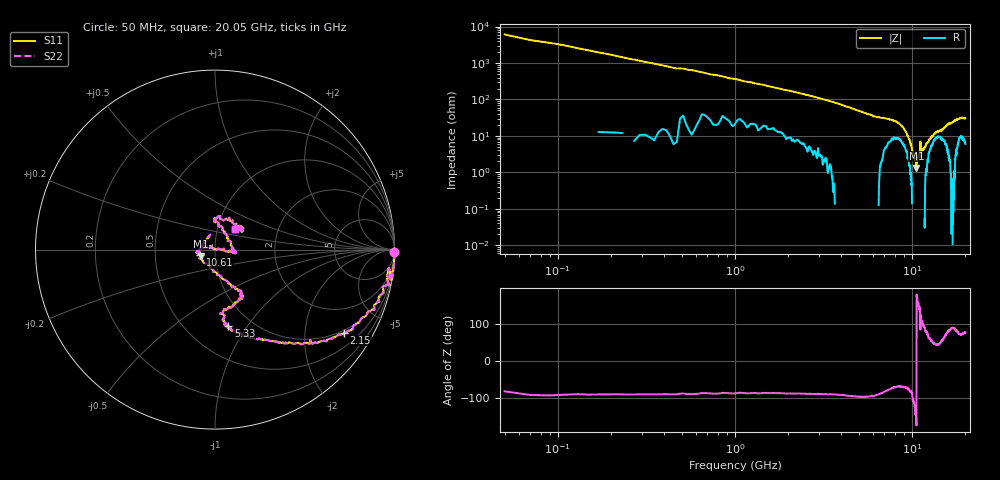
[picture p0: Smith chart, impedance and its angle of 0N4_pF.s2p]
! P/N: 500R07S0R4BV4
! Measured by Marlon
! Oct. 28, 2003
#	mhz	s	ma	r	50
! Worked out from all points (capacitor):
!   1001 points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, 50 MHz to 20.05 GHz, reference 50 ohm
!   read as one part in series: C = 479 fF near 150 MHz
!   lowest |Z| = 1.33 ohm at 10.59 GHz (marker M1)
!   series resonance near 10.63 GHz, so ESL is about 470 pH
!   S11 on the Smith chart (normalised r, x): 50 MHz: open; 2.15 GHz: 0.92, -3.15; 5.33 GHz: 0.78, -0.82; 10.61 GHz: 0.85, -0.05; 20.05 GHz: 1.21, +0.29
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50  0.9999 -0.8  0.01649 80.5  0.01649 80.5  0.9999 -0.8
310  0.9999 -5.6  0.09286 83.8  0.09286 83.8  0.9999 -5.6
670  0.9999 -8.1  0.1849 77.7  0.1849 77.7  0.9999 -8.1
2150  0.8545 -32.8  0.517 54.2  0.517 54.2  0.8545 -32.8
3390  0.6781 -50.3  0.7065 39.4  0.7065 39.4  0.6781 -50.3
5330  0.433 -80.1  0.866 23.1  0.866 23.1  0.433 -80.1
6730  0.3288 -76.1  0.9004 14.4  0.9004 14.4  0.3288 -76.1
8530  0.2488 -61.1  0.9178 6.6  0.9178 6.6  0.2488 -61.1
10050  0.09193 -124.8  0.9503 0.3  0.9503 0.3  0.09193 -124.8
10590  0.08657 -156.1  0.9473 -1.7  0.9473 -1.7  0.08657 -156.1
10610  0.08836 -159.8  0.9469 -1.6  0.9469 -1.6  0.08836 -159.8
11070  0.09649 -176.6  0.949 -3.3  0.949 -3.3  0.09649 -176.6
11730  0.05562 168.5  0.9512 -4.7  0.9512 -4.7  0.05562 168.5
12110  0.03174 146.4  0.9503 -6.3  0.9503 -6.3  0.03174 146.4
12350  0.0067 159.2  0.956 -7.4  0.956 -7.4  0.0067 159.2
12870  0.04574 0.8  0.9417 -8.2  0.9417 -8.2  0.04574 0.8
13390  0.08112 -6.6  0.9412 -9.6  0.9412 -9.6  0.08112 -6.6
14210  0.1174 -7.5  0.9398 -10.9  0.9398 -10.9  0.1174 -7.5
15510  0.09225 36.3  0.9406 -15.0  0.9406 -15.0  0.09225 36.3
16730  0.1562 91.9  0.924 -17.0  0.924 -17.0  0.1562 91.9
18570  0.197 36.6  0.9247 -22.2  0.9247 -22.2  0.197 36.6
20050  0.1598 47.1  0.922 -24.7  0.922 -24.7  0.1598 47.1
